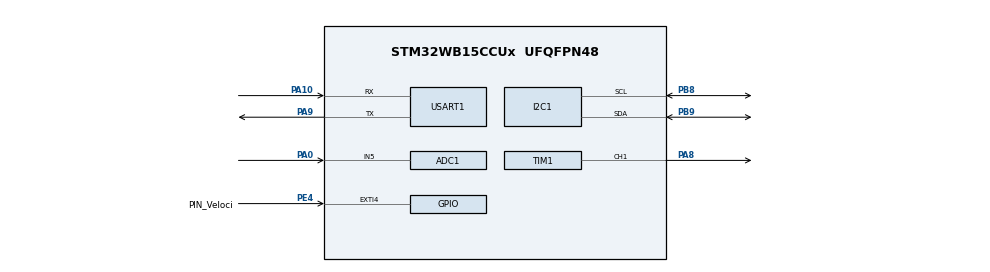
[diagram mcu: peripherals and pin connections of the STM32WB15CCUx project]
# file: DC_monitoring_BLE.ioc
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ADC1.Channel-1\#ChannelRegularConversion=ADC_CHANNEL_5
ADC1.ClockPrescaler=ADC_CLOCK_ASYNC_DIV256
ADC1.ContinuousConvMode=ENABLE
ADC1.DMAContinuousRequests=ENABLE
ADC1.NbrOfConversionFlag=1
ADC1.Rank-1\#ChannelRegularConversion=1
ADC1.SamplingTime-1\#ChannelRegularConversion=ADC_SAMPLINGTIME_COMMON_1
ADC1.SelectedChannel=ADC_CHANNEL_5
ADC1.master=1
Dma.ADC1.0.Direction=DMA_PERIPH_TO_MEMORY
Dma.ADC1.0.EventEnable=DISABLE
Dma.ADC1.0.Instance=DMA1_Channel1
Dma.ADC1.0.MemDataAlignment=DMA_MDATAALIGN_HALFWORD
Dma.ADC1.0.MemInc=DMA_MINC_ENABLE
Dma.ADC1.0.Mode=DMA_CIRCULAR
Dma.ADC1.0.PeriphDataAlignment=DMA_PDATAALIGN_HALFWORD
Dma.ADC1.0.PeriphInc=DMA_PINC_DISABLE
Dma.ADC1.0.Polarity=HAL_DMAMUX_REQ_GEN_RISING
Dma.ADC1.0.Priority=DMA_PRIORITY_LOW
Dma.ADC1.0.RequestNumber=1
Dma.ADC1.0.SignalID=NONE
Dma.ADC1.0.SyncEnable=DISABLE
Dma.ADC1.0.SyncPolarity=HAL_DMAMUX_SYNC_NO_EVENT
Dma.ADC1.0.SyncRequestNumber=1
Dma.ADC1.0.SyncSignalID=NONE
Dma.Request0=ADC1
Mcu.Family=STM32WB
Mcu.Name=STM32WB15CCUx
Mcu.Package=UFQFPN48
NVIC.DMA1_Channel1_IRQn=true\:0\:0\:false\:false\:true\:false\:true\:true
NVIC.EXTI4_IRQn=true\:0\:0\:false\:false\:true\:true\:true\:true
NVIC.PriorityGroup=NVIC_PRIORITYGROUP_4
NVIC.TIM2_IRQn=true\:0\:0\:false\:false\:true\:true\:true\:true
PA0.Signal=ADCx_IN5
PA10.Mode=Asynchronous
PA10.Signal=USART1_RX
PA8.Signal=S_TIM1_CH1
PA9.Mode=Asynchronous
PA9.Signal=USART1_TX
PB8.Mode=I2C
PB8.Signal=I2C1_SCL
PB9.Mode=I2C
PB9.Signal=I2C1_SDA
PE4.GPIO_Label=PIN_Veloci
PE4.Signal=GPXTI4
ProjectManager.HeapSize=0x200
ProjectManager.StackSize=0x400
ProjectManager.TargetToolchain=STM32CubeIDE
RCC.APB3Freq_Value=16000000
RCC.HSE_VALUE=8000000
RCC.HSI_VALUE=16000000
RCC.LSE_VALUE=32768
RCC.VCOOutputFreq_Value=32000000
SH.ADCx_IN5.0=ADC1_IN5,IN5-Single-Ended
SH.S_TIM1_CH1.0=TIM1_CH1,PWM Generation1 CH1
TIM1.Channel-PWM\ Generation1\ CH1=TIM_CHANNEL_1
TIM1.Period=99
TIM1.Prescaler=0
TIM2.AutoReloadPreload=TIM_AUTORELOAD_PRELOAD_ENABLE
TIM2.Period=999
TIM2.Prescaler=0
USART1.VirtualMode-Asynchronous=VM_ASYNC
VP_TIM1_VS_ClockSourceINT.Mode=Internal
VP_TIM2_VS_ClockSourceINT.Mode=Internal
board=custom

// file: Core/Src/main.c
/* USER CODE BEGIN Header */
/**
  ******************************************************************************
  * @file           : main.c
  * @brief          : Main program body
  ******************************************************************************
  * @attention
  *
  * Copyright (c) 2023 STMicroelectronics.
  * All rights reserved.
  *
  * This software is licensed under terms that can be found in the LICENSE file
  * in the root directory of this software component.
  * If no LICENSE file comes with this software, it is provided AS-IS.
  *
  ******************************************************************************
  */
/* USER CODE END Header */
#include "main.h"

/* USER CODE BEGIN Includes */
#include <stdio.h>
/* USER CODE END Includes */

ADC_HandleTypeDef hadc1;
DMA_HandleTypeDef hdma_adc1;

I2C_HandleTypeDef hi2c1;

TIM_HandleTypeDef htim1;
TIM_HandleTypeDef htim2;

UART_HandleTypeDef huart1;

/* USER CODE BEGIN PV */
uint32_t value_adc;
uint32_t angle_cnt=0;
/* USER CODE END PV */

void SystemClock_Config(void);
void PeriphCommonClock_Config(void);
static void MX_GPIO_Init(void);
static void MX_DMA_Init(void);
static void MX_ADC1_Init(void);
static void MX_I2C1_Init(void);
static void MX_USART1_UART_Init(void);
static void MX_TIM1_Init(void);
static void MX_TIM2_Init(void);
/* USER CODE BEGIN PFP */

void HAL_GPIO_EXTI_Callback(uint16_t GPIO_Pin)
{
  /* Prevent unused argument(s) compilation warning */
   if (GPIO_Pin == PIN_Veloci_Pin ){
	   angle_cnt = __HAL_TIM_GetCounter(&htim2);
   }

  /* NOTE: This function should not be modified, when the callback is needed,
           the HAL_GPIO_EXTI_Callback could be implemented in the user file
   */
}

/* USER CODE END PFP */

/* USER CODE BEGIN 0 */
#ifdef __GNUC__
#define PUTCHAR_PROTOTYPE int __io_putchar(int ch)
#else
#define PUTCHAR_PROTOTYPE int fputc(int ch, FILE *f)
#endif

PUTCHAR_PROTOTYPE
{
  HAL_UART_Transmit(&huart1, (uint8_t *)&ch, 1, HAL_MAX_DELAY);
  return ch;
}
/* USER CODE END 0 */

int main(void)
{

  /* MCU Configuration--------------------------------------------------------*/

  /* Reset of all peripherals, Initializes the Flash interface and the Systick. */
  HAL_Init();

  /* Configure the system clock */
  SystemClock_Config();

/* Configure the peripherals common clocks */
  PeriphCommonClock_Config();

  /* Initialize all configured peripherals */
  MX_GPIO_Init();
  MX_DMA_Init();
  MX_ADC1_Init();
  MX_I2C1_Init();
  MX_USART1_UART_Init();
  MX_TIM1_Init();
  MX_TIM2_Init();
  /* USER CODE BEGIN 2 */
  HAL_ADCEx_Calibration_Start(&hadc1, ADC_SINGLE_ENDED);
  HAL_ADC_Start_DMA(&hadc1,(uint32_t*)&value_adc,1);

  HAL_TIM_PWM_Start(&htim1, TIM_CHANNEL_1);
  __HAL_TIM_SET_COMPARE(&htim1, TIM_CHANNEL_1, 99);

  HAL_TIM_Base_Start(&htim2);

  printf("Ola mundo\n");
  /* USER CODE END 2 */

  /* Infinite loop */
  while (1)
  {

    /* USER CODE BEGIN 3 */
  printf("%d\n\r",value_adc);
  }
  /* USER CODE END 3 */
}

void SystemClock_Config(void)
{
  RCC_OscInitTypeDef RCC_OscInitStruct = {0};
  RCC_ClkInitTypeDef RCC_ClkInitStruct = {0};

  /** Initializes the RCC Oscillators according to the specified parameters
  * in the RCC_OscInitTypeDef structure.
  */
  RCC_OscInitStruct.OscillatorType = RCC_OSCILLATORTYPE_HSI|RCC_OSCILLATORTYPE_MSI;
  RCC_OscInitStruct.HSIState = RCC_HSI_ON;
  RCC_OscInitStruct.MSIState = RCC_MSI_ON;
  RCC_OscInitStruct.HSICalibrationValue = RCC_HSICALIBRATION_DEFAULT;
  RCC_OscInitStruct.MSICalibrationValue = RCC_MSICALIBRATION_DEFAULT;
  RCC_OscInitStruct.MSIClockRange = RCC_MSIRANGE_6;
  RCC_OscInitStruct.PLL.PLLState = RCC_PLL_NONE;
  if (HAL_RCC_OscConfig(&RCC_OscInitStruct) != HAL_OK)
  {
    Error_Handler();
  }

  /** Configure the SYSCLKSource, HCLK, PCLK1 and PCLK2 clocks dividers
  */
  RCC_ClkInitStruct.ClockType = RCC_CLOCKTYPE_HCLK4|RCC_CLOCKTYPE_HCLK2
                              |RCC_CLOCKTYPE_HCLK|RCC_CLOCKTYPE_SYSCLK
                              |RCC_CLOCKTYPE_PCLK1|RCC_CLOCKTYPE_PCLK2;
  RCC_ClkInitStruct.SYSCLKSource = RCC_SYSCLKSOURCE_MSI;
  RCC_ClkInitStruct.AHBCLKDivider = RCC_SYSCLK_DIV1;
  RCC_ClkInitStruct.APB1CLKDivider = RCC_HCLK_DIV1;
  RCC_ClkInitStruct.APB2CLKDivider = RCC_HCLK_DIV1;
  RCC_ClkInitStruct.AHBCLK2Divider = RCC_SYSCLK_DIV1;
  RCC_ClkInitStruct.AHBCLK4Divider = RCC_SYSCLK_DIV1;

  if (HAL_RCC_ClockConfig(&RCC_ClkInitStruct, FLASH_LATENCY_0) != HAL_OK)
  {
    Error_Handler();
  }
}

void PeriphCommonClock_Config(void)
{
  RCC_PeriphCLKInitTypeDef PeriphClkInitStruct = {0};

  /** Initializes the peripherals clock
  */
  PeriphClkInitStruct.PeriphClockSelection = RCC_PERIPHCLK_SMPS;
  PeriphClkInitStruct.SmpsClockSelection = RCC_SMPSCLKSOURCE_HSI;
  PeriphClkInitStruct.SmpsDivSelection = RCC_SMPSCLKDIV_RANGE1;

  if (HAL_RCCEx_PeriphCLKConfig(&PeriphClkInitStruct) != HAL_OK)
  {
    Error_Handler();
  }
}

static void MX_ADC1_Init(void)
{

  ADC_ChannelConfTypeDef sConfig = {0};

  /** Common config
  */
  hadc1.Instance = ADC1;
  hadc1.Init.ClockPrescaler = ADC_CLOCK_ASYNC_DIV256;
  hadc1.Init.Resolution = ADC_RESOLUTION_12B;
  hadc1.Init.DataAlign = ADC_DATAALIGN_RIGHT;
  hadc1.Init.ScanConvMode = ADC_SCAN_DISABLE;
  hadc1.Init.EOCSelection = ADC_EOC_SINGLE_CONV;
  hadc1.Init.SamplingTimeCommon1 = ADC_SAMPLETIME_1CYCLE_5;
  hadc1.Init.SamplingTimeCommon2 = ADC_SAMPLETIME_1CYCLE_5;
  hadc1.Init.LowPowerAutoWait = DISABLE;
  hadc1.Init.ContinuousConvMode = ENABLE;
  hadc1.Init.NbrOfConversion = 1;
  hadc1.Init.DiscontinuousConvMode = DISABLE;
  hadc1.Init.ExternalTrigConv = ADC_SOFTWARE_START;
  hadc1.Init.ExternalTrigConvEdge = ADC_EXTERNALTRIGCONVEDGE_NONE;
  hadc1.Init.DMAContinuousRequests = ENABLE;
  hadc1.Init.Overrun = ADC_OVR_DATA_PRESERVED;
  if (HAL_ADC_Init(&hadc1) != HAL_OK)
  {
    Error_Handler();
  }

  /** Configure Regular Channel
  */
  sConfig.Channel = ADC_CHANNEL_5;
  sConfig.Rank = ADC_REGULAR_RANK_1;
  sConfig.SamplingTime = ADC_SAMPLINGTIME_COMMON_1;
  if (HAL_ADC_ConfigChannel(&hadc1, &sConfig) != HAL_OK)
  {
    Error_Handler();
  }

}

static void MX_I2C1_Init(void)
{

  hi2c1.Instance = I2C1;
  hi2c1.Init.Timing = 0x00000E14;
  hi2c1.Init.OwnAddress1 = 0;
  hi2c1.Init.AddressingMode = I2C_ADDRESSINGMODE_7BIT;
  hi2c1.Init.DualAddressMode = I2C_DUALADDRESS_DISABLE;
  hi2c1.Init.OwnAddress2 = 0;
  hi2c1.Init.OwnAddress2Masks = I2C_OA2_NOMASK;
  hi2c1.Init.GeneralCallMode = I2C_GENERALCALL_DISABLE;
  hi2c1.Init.NoStretchMode = I2C_NOSTRETCH_DISABLE;
  if (HAL_I2C_Init(&hi2c1) != HAL_OK)
  {
    Error_Handler();
  }

  /** Configure Analogue filter
  */
  if (HAL_I2CEx_ConfigAnalogFilter(&hi2c1, I2C_ANALOGFILTER_ENABLE) != HAL_OK)
  {
    Error_Handler();
  }

  /** Configure Digital filter
  */
  if (HAL_I2CEx_ConfigDigitalFilter(&hi2c1, 0) != HAL_OK)
  {
    Error_Handler();
  }

}

static void MX_TIM1_Init(void)
{

  TIM_ClockConfigTypeDef sClockSourceConfig = {0};
  TIM_MasterConfigTypeDef sMasterConfig = {0};
  TIM_OC_InitTypeDef sConfigOC = {0};
  TIM_BreakDeadTimeConfigTypeDef sBreakDeadTimeConfig = {0};

  htim1.Instance = TIM1;
  htim1.Init.Prescaler = 0;
  htim1.Init.CounterMode = TIM_COUNTERMODE_UP;
  htim1.Init.Period = 99;
  htim1.Init.ClockDivision = TIM_CLOCKDIVISION_DIV1;
  htim1.Init.RepetitionCounter = 0;
  htim1.Init.AutoReloadPreload = TIM_AUTORELOAD_PRELOAD_DISABLE;
  if (HAL_TIM_Base_Init(&htim1) != HAL_OK)
  {
    Error_Handler();
  }
  sClockSourceConfig.ClockSource = TIM_CLOCKSOURCE_INTERNAL;
  if (HAL_TIM_ConfigClockSource(&htim1, &sClockSourceConfig) != HAL_OK)
  {
    Error_Handler();
  }
  if (HAL_TIM_PWM_Init(&htim1) != HAL_OK)
  {
    Error_Handler();
  }
  sMasterConfig.MasterOutputTrigger = TIM_TRGO_RESET;
  sMasterConfig.MasterOutputTrigger2 = TIM_TRGO2_RESET;
  sMasterConfig.MasterSlaveMode = TIM_MASTERSLAVEMODE_DISABLE;
  if (HAL_TIMEx_MasterConfigSynchronization(&htim1, &sMasterConfig) != HAL_OK)
  {
    Error_Handler();
  }
  sConfigOC.OCMode = TIM_OCMODE_PWM1;
  sConfigOC.Pulse = 0;
  sConfigOC.OCPolarity = TIM_OCPOLARITY_HIGH;
  sConfigOC.OCNPolarity = TIM_OCNPOLARITY_HIGH;
  sConfigOC.OCFastMode = TIM_OCFAST_DISABLE;
  sConfigOC.OCIdleState = TIM_OCIDLESTATE_RESET;
  sConfigOC.OCNIdleState = TIM_OCNIDLESTATE_RESET;
  if (HAL_TIM_PWM_ConfigChannel(&htim1, &sConfigOC, TIM_CHANNEL_1) != HAL_OK)
  {
    Error_Handler();
  }
  sBreakDeadTimeConfig.OffStateRunMode = TIM_OSSR_DISABLE;
  sBreakDeadTimeConfig.OffStateIDLEMode = TIM_OSSI_DISABLE;
  sBreakDeadTimeConfig.LockLevel = TIM_LOCKLEVEL_OFF;
  sBreakDeadTimeConfig.DeadTime = 0;
  sBreakDeadTimeConfig.BreakState = TIM_BREAK_DISABLE;
  sBreakDeadTimeConfig.BreakPolarity = TIM_BREAKPOLARITY_HIGH;
  sBreakDeadTimeConfig.BreakFilter = 0;
  sBreakDeadTimeConfig.BreakAFMode = TIM_BREAK_AFMODE_INPUT;
  sBreakDeadTimeConfig.Break2State = TIM_BREAK2_DISABLE;
  sBreakDeadTimeConfig.Break2Polarity = TIM_BREAK2POLARITY_HIGH;
  sBreakDeadTimeConfig.Break2Filter = 0;
  sBreakDeadTimeConfig.Break2AFMode = TIM_BREAK_AFMODE_INPUT;
  sBreakDeadTimeConfig.AutomaticOutput = TIM_AUTOMATICOUTPUT_DISABLE;
  if (HAL_TIMEx_ConfigBreakDeadTime(&htim1, &sBreakDeadTimeConfig) != HAL_OK)
  {
    Error_Handler();
  }
  HAL_TIM_MspPostInit(&htim1);

}

static void MX_TIM2_Init(void)
{

  TIM_ClockConfigTypeDef sClockSourceConfig = {0};
  TIM_MasterConfigTypeDef sMasterConfig = {0};

  htim2.Instance = TIM2;
  htim2.Init.Prescaler = 0;
  htim2.Init.CounterMode = TIM_COUNTERMODE_UP;
  htim2.Init.Period = 999;
  htim2.Init.ClockDivision = TIM_CLOCKDIVISION_DIV1;
  htim2.Init.AutoReloadPreload = TIM_AUTORELOAD_PRELOAD_ENABLE;
  if (HAL_TIM_Base_Init(&htim2) != HAL_OK)
  {
    Error_Handler();
  }
  sClockSourceConfig.ClockSource = TIM_CLOCKSOURCE_INTERNAL;
  if (HAL_TIM_ConfigClockSource(&htim2, &sClockSourceConfig) != HAL_OK)
  {
    Error_Handler();
  }
  sMasterConfig.MasterOutputTrigger = TIM_TRGO_RESET;
  sMasterConfig.MasterSlaveMode = TIM_MASTERSLAVEMODE_DISABLE;
  if (HAL_TIMEx_MasterConfigSynchronization(&htim2, &sMasterConfig) != HAL_OK)
  {
    Error_Handler();
  }

}

static void MX_USART1_UART_Init(void)
{

  huart1.Instance = USART1;
  huart1.Init.BaudRate = 115200;
  huart1.Init.WordLength = UART_WORDLENGTH_8B;
  huart1.Init.StopBits = UART_STOPBITS_1;
  huart1.Init.Parity = UART_PARITY_NONE;
  huart1.Init.Mode = UART_MODE_TX_RX;
  huart1.Init.HwFlowCtl = UART_HWCONTROL_NONE;
  huart1.Init.OverSampling = UART_OVERSAMPLING_16;
  huart1.Init.OneBitSampling = UART_ONE_BIT_SAMPLE_DISABLE;
  huart1.Init.ClockPrescaler = UART_PRESCALER_DIV1;
  huart1.AdvancedInit.AdvFeatureInit = UART_ADVFEATURE_NO_INIT;
  if (HAL_UART_Init(&huart1) != HAL_OK)
  {
    Error_Handler();
  }
  if (HAL_UARTEx_SetTxFifoThreshold(&huart1, UART_TXFIFO_THRESHOLD_1_8) != HAL_OK)
  {
    Error_Handler();
  }
  if (HAL_UARTEx_SetRxFifoThreshold(&huart1, UART_RXFIFO_THRESHOLD_1_8) != HAL_OK)
  {
    Error_Handler();
  }
  if (HAL_UARTEx_DisableFifoMode(&huart1) != HAL_OK)
  {
    Error_Handler();
  }

}

static void MX_DMA_Init(void)
{

  /* DMA controller clock enable */
  __HAL_RCC_DMAMUX1_CLK_ENABLE();
  __HAL_RCC_DMA1_CLK_ENABLE();

  /* DMA interrupt init */
  /* DMA1_Channel1_IRQn interrupt configuration */
  HAL_NVIC_SetPriority(DMA1_Channel1_IRQn, 0, 0);
  HAL_NVIC_EnableIRQ(DMA1_Channel1_IRQn);

}

static void MX_GPIO_Init(void)
{
  GPIO_InitTypeDef GPIO_InitStruct = {0};

  /* GPIO Ports Clock Enable */
  __HAL_RCC_GPIOB_CLK_ENABLE();
  __HAL_RCC_GPIOA_CLK_ENABLE();
  __HAL_RCC_GPIOE_CLK_ENABLE();

  /*Configure GPIO pin : PIN_Veloci_Pin */
  GPIO_InitStruct.Pin = PIN_Veloci_Pin;
  GPIO_InitStruct.Mode = GPIO_MODE_IT_RISING;
  GPIO_InitStruct.Pull = GPIO_NOPULL;
  HAL_GPIO_Init(PIN_Veloci_GPIO_Port, &GPIO_InitStruct);

  /* EXTI interrupt init*/
  HAL_NVIC_SetPriority(EXTI4_IRQn, 0, 0);
  HAL_NVIC_EnableIRQ(EXTI4_IRQn);

}

void Error_Handler(void)
{
  __disable_irq();
  while (1)
  {
  }
}
